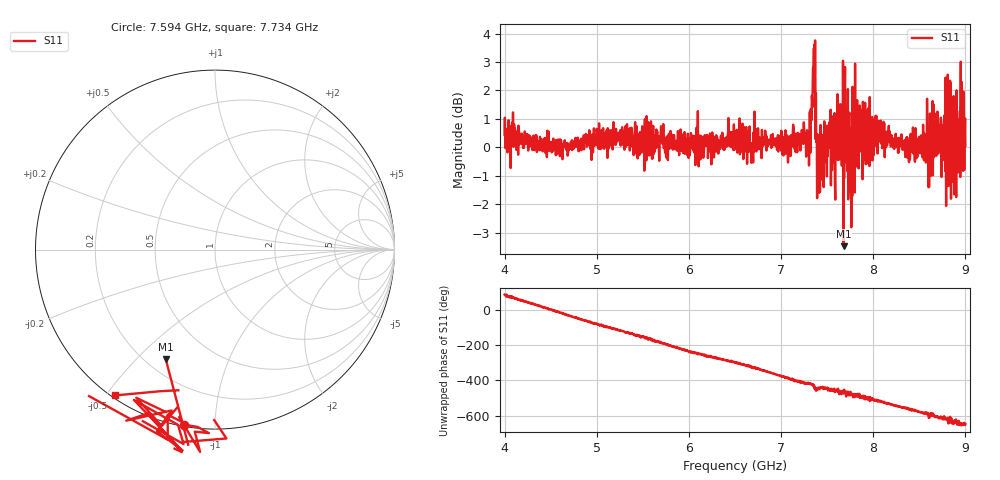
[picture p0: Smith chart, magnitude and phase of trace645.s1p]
! Created with skrf 1.8.0 (http://scikit-rf.org).
# Hz S RI R 50.0
!freq ReS11 ImS11
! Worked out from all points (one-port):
!   1601 points, 4 GHz to 9 GHz, reference 50 ohm
!   lowest |S11| = -3.5 dB at 7.678 GHz (marker M1), VSWR 5.06, Z = 13.8 - j30.6 ohm
!   |S11| at or under -10 dB: nowhere
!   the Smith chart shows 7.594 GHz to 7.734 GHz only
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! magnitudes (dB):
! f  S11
! 4 GHz  0.4
! 4.625 GHz  -0.2
! 5.25 GHz  0.2
! 5.875 GHz  -0.1
! 6.5 GHz  0.4
! 7.125 GHz  0.3
! 7.294 GHz  0.1
! 7.316 GHz  0.0
! 7.347 GHz  2.8
! 7.369 GHz  3.8
! 7.4 GHz  -1.0
! 7.412 GHz  -1.6
! 7.512 GHz  0.7
! 7.566 GHz  -0.5
! 7.647 GHz  1.1
! 7.678 GHz  -3.5
! 7.75 GHz  -0.6
! 7.775 GHz  2.1
! 7.828 GHz  0.7
! 7.928 GHz  0.3
! 8.375 GHz  -0.3
! 8.612 GHz  -0.2
! 8.656 GHz  1.5
! 8.766 GHz  0.8
! 8.819 GHz  0.6
! 8.869 GHz  0.1
! 8.956 GHz  0.1
! 9 GHz  0.0
